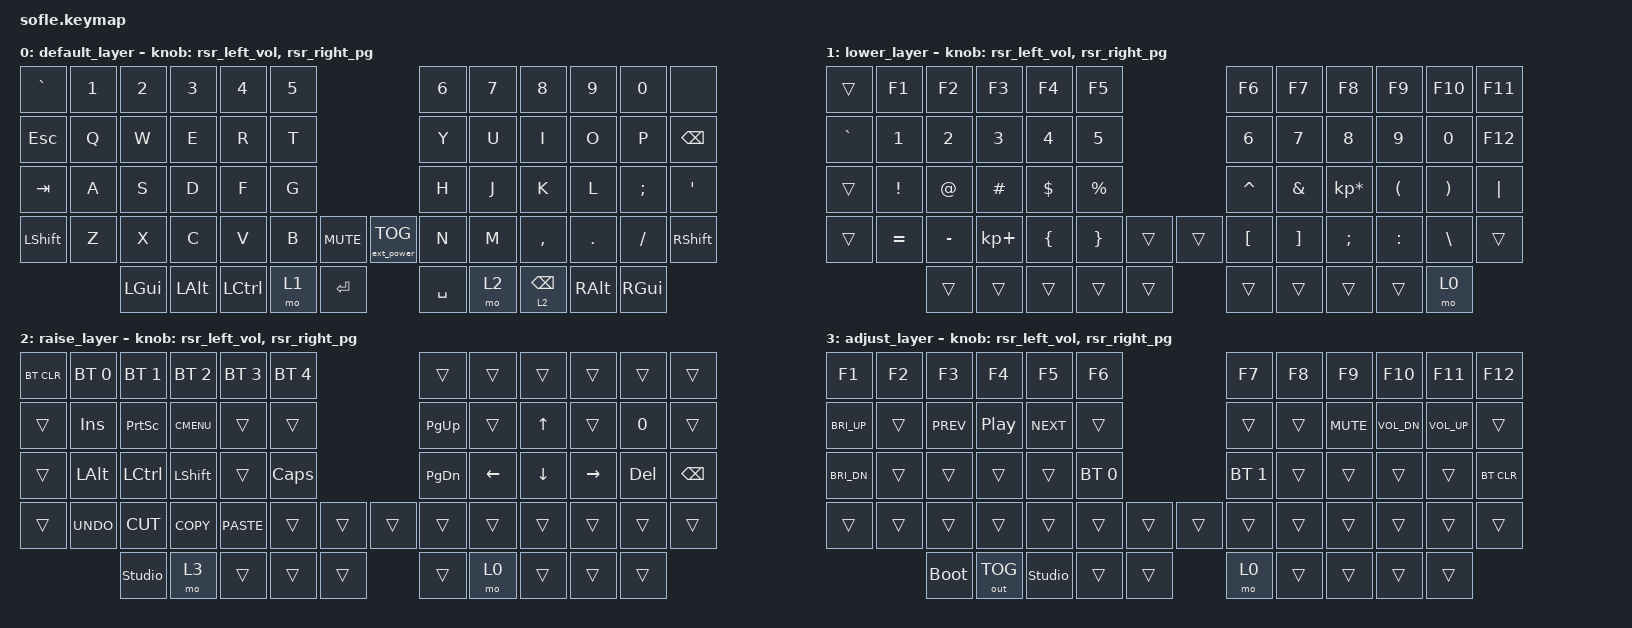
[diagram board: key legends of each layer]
/*
 * Copyright (c) 2020 The ZMK Contributors
 * Copyright (c) 2026 tangbonze
 *
 * SPDX-License-Identifier: MIT
 *
 * Sofle 分体键盘键位定义 —— DYA Studio 版
 *
 * 布局沿用 ZMK 内置 sofle shield 的矩阵变换（app/boards/shields/sofle/sofle.dtsi
 * 里的 default_transform，chosen 到 josefadamcik_sofle_layout）。
 * 每层的绑定数必须严格为 12 / 12 / 12 / 14 / 10（两半合计 60 个矩阵位置，
 * 其中 2 个位置在 dtsi 里被映射为编码器，实际开关 58 枚），否则 devicetree 报错。
 *
 * 层设计：
 *   0 DEFAULT  主键区。**与原 main 分支完全一致**，未做任何改动。
 *   1 LOWER    F 键 / 数字 / 符号（原main 分支内容，末尾加 &mo 0 兜底）
 *   2 RAISE    蓝牙配置档 / 导航 / 编辑（原 main 分支内容 + DYA 键位）
 *   3 ADJUST   媒体 / 亮度 / 蓝牙 / bootloader（DYA Studio 常用操作集中层）
 *
 * 进出方式：
 *   DEFAULT -> LOWER  左手第 4 枚拇指键（&mo 1）
 *   DEFAULT -> RAISE  右手第 2 枚拇指键（&lt 2，短按退格 / 长按进层）
 *   RAISE   -> ADJUST 左手第 2 枚拇指键（&mo 3）
 *   LOWER + RAISE 同按 -> ADJUST（conditional layer / tri_layer）
 *   LOWER / RAISE / ADJUST 的兜底位均为 &mo 0，按住可临时回到 DEFAULT
 *
 * ⚠️ 输出切换一律用 &out OUT_TOG，不要用 &out OUT_USB：
 *    后者是粘滞的 —— 切过去以后只要没插线蓝牙输出就被停掉，键盘完全没有输入，
 *    表现成"键盘突然坏了"。本文件三处输出切换均为 OUT_TOG。
 */

#include <behaviors.dtsi>
// 引入 rsr_trans（无动作的运行时编码器行为）。真正的实例在下方
// / { behaviors { ... } } 里按左右编码器分别定义，带默认回落绑定。
#include <behaviors/runtime-sensor-rotate.dtsi>
#include <dt-bindings/zmk/bt.h>
#include <dt-bindings/zmk/ext_power.h>
#include <dt-bindings/zmk/keys.h>
#include <dt-bindings/zmk/outputs.h>

#define DEFAULT 0
#define LOWER   1
#define RAISE   2
#define ADJUST  3

/ {
    behaviors {
        // 编码器运行时映射（Sofle 每半一枚 EC11，共 2 个 sensor：左=0，右=1）
        //
        // 这些 cw-binding / ccw-binding 是**默认回落值**：当某层还没在 DYA Studio
        // 网页上配置过时，编码器按这里写的键行为；一旦在网页上配了某层，
        // 就以网页配置为准。这保证了刚刷完固件、还没打开 Studio 时
        // 编码器依然可用（手感与原来的 &inc_dec_kp 一致）。
        //
        // 行为属性：
        //   tap-ms        每次触发的按下时长，默认 5ms
        //   cw-binding    顺时针默认绑定（可选）
        //   ccw-binding   逆时针默认绑定（可选）
        // 三者都不写时该实例完全透明（不产生任何动作）。

        // 左编码器：默认 音量 上/下
        rsr_left_vol: rsr_left_vol {
            compatible = "zmk,behavior-runtime-sensor-rotate";
            #sensor-binding-cells = <0>;
            tap-ms = <5>;
            cw-binding = <&kp C_VOL_UP>;
            ccw-binding = <&kp C_VOL_DN>;
        };

        // 右编码器：默认 翻页 上/下
        rsr_right_pg: rsr_right_pg {
            compatible = "zmk,behavior-runtime-sensor-rotate";
            #sensor-binding-cells = <0>;
            tap-ms = <5>;
            cw-binding = <&kp PG_UP>;
            ccw-binding = <&kp PG_DN>;
        };
    };

    conditional_layers {
        compatible = "zmk,conditional-layers";

        // LOWER + RAISE 同按 -> ADJUST
        tri_layer {
            if-layers = <LOWER RAISE>;
            then-layer = <ADJUST>;
        };
    };

    keymap {
        compatible = "zmk,keymap";

        default_layer {
            // -----------------------------------------------------------------------------------------
            // |  `    |  1  |  2  |  3  |  4  |  5  |                    |  6  |  7  |  8  |  9  |  0  |      |
            // |  ESC  |  Q  |  W  |  E  |  R  |  T  |                    |  Y  |  U  |  I  |  O  |  P  | BSPC |
            // |  TAB  |  A  |  S  |  D  |  F  |  G  |                    |  H  |  J  |  K  |  L  |  ;  |  '   |
            // | LSHFT |  Z  |  X  |  C  |  V  |  B  | MUTE |            | PWR |  N  |  M  |  ,  |  .  | RSHFT|
            //               | GUI | ALT | CTRL| LWR | ENT |                   | SPC | RSE | CTRL| ALT | GUI |
            //
            // 本层与原 main 分支逐键一致，未做改动，确保既有手感不受影响。
            // 第 3 行是 Sofle 特有的 14 键（MUTE 与外设电源占位），
            // 第 4 行的编码器不在矩阵内，由 sensor-bindings 单独接管。
            //
            // 编码器：sensor 0 = 左，sensor 1 = 右。改用运行时可配置的行为
            // （rsr_left_vol / rsr_right_pg），默认值与原main 的
            // &inc_dec_kp 一致，在 DYA Studio 上配了某层之后以网页配置为准。

            bindings = <
&kp GRAVE &kp N1 &kp N2   &kp N3   &kp N4    &kp N5                              &kp N6 &kp N7    &kp N8    &kp N9   &kp N0   &none
&kp ESC   &kp Q  &kp W    &kp E    &kp R     &kp T                               &kp Y  &kp U     &kp I     &kp O    &kp P    &kp BSPC
&kp TAB   &kp A  &kp S    &kp D    &kp F     &kp G                               &kp H  &kp J     &kp K     &kp L    &kp SEMI &kp SQT
&kp LSHFT &kp Z  &kp X    &kp C    &kp V     &kp B  &kp C_MUTE &ext_power EP_TOG &kp N  &kp M     &kp COMMA &kp DOT  &kp FSLH &kp RSHFT
                 &kp LGUI &kp LALT &kp LCTRL &mo 1  &kp RET    &kp SPACE         &mo 2  &lt 2 BACKSPACE  &kp RALT  &kp RGUI
            >;

            // 左编码器 = 音量，右编码器 = 翻页
            sensor-bindings = <&rsr_left_vol &rsr_right_pg>;
        };

        lower_layer {
            // -----------------------------------------------------------------------------------------
            // |      |  F1 |  F2 |  F3  |  F4  |  F5  |                   |  F6  |  F7 |  F8  |  F9  | F10 | F11 |
            // |  `   |   1 |   2 |  3  |   4  |   5  |                   |  6  |  7  |  8  |  9  |  0  | F12 |
            // | trans|  !  |  @  |  #  |  $  |  %  |                   |  ^  |  &  |  *  |  (  |  )  |  |  |
            // | trans|  =  |  -  |  +  |  {  |  }  |   trans |  trans  |  [  |  ]  |  ;  |  :  |  \  | trans|
            //               |trans|trans|trans|trans|                         | SPC  | trans |trans | trans | trans |
            //
            // 与原 main 分支一致。最右 1 枚拇指键从 &trans 改成 &mo 0 作为兜底：
            // DYA Studio 的 Default Layer 面板可以把这层设成基础层，一旦被设成
            // 基础层，原本全是 &trans 的拇指区就会变成"死区"——既回不到 RAISE
            //（拿不到 &studio_unlock），也进不了 ADJUST。有 &mo 0 就不会锁死。

            bindings = <
&trans    &kp F1    &kp F2    &kp F3      &kp F4    &kp F5                    &kp F6    &kp F7   &kp F8          &kp F9    &kp F10   &kp F11
&kp GRAVE &kp N1    &kp N2    &kp N3      &kp N4    &kp N5                    &kp N6    &kp N7   &kp N8          &kp N9    &kp N0    &kp F12
&trans    &kp EXCL  &kp AT    &kp HASH    &kp DLLR  &kp PRCNT                 &kp CARET &kp AMPS &kp KP_MULTIPLY &kp LPAR  &kp RPAR  &kp PIPE
&trans    &kp EQUAL &kp MINUS &kp KP_PLUS &kp LBRC  &kp RBRC  &trans   &trans &kp LBKT  &kp RBKT &kp SEMI        &kp COLON &kp BSLH  &trans
                    &trans    &trans      &trans    &trans    &trans    &trans  &trans  &trans    &trans    &mo 0
            >;

            sensor-bindings = <&rsr_left_vol &rsr_right_pg>;
        };

        raise_layer {
            // -----------------------------------------------------------------------------------------
            // |BTCLR| BT1  | BT2  |  BT3  |  BT4  |  BT5 |                   | trans  | trans | trans | trans | trans | trans|
            // |     | INS  | PSCR | GUI   |       |      |                   | PGUP|      |   ^   |      |       |      |
            // |     | ALT  | CTRL | SHIFT |       | CAPS |                   | PGDN |   <- |   v   |  ->  |  DEL  | BSPC |
            // |     | UNDO | CUT  | COPY  | PASTE |      |  trans |  trans     | trans  | trans | trans | trans | trans | trans |
            //              |STUDIO| ->ADJ |      |      |                      | trans | BASE  | trans |      |      |
            //
            // 前四行与原 main 分支一致（蓝牙配置档、导航、编辑、剪贴板）。
            // 第 5 行是新增的 DYA 拇指区：
            //   STUDIO = &studio_unlock，解锁 DYA Studio（被锁定时 Web Bluetooth 扫不到）；
            //   ->ADJ  = &mo 3，按住进 ADJUST 层；
            //   BASE   = &mo 0，按住临时回到 DEFAULT（RAISE 被设成基础层时的逃生口）。

            bindings = <
&bt BT_CLR &bt BT_SEL 0 &bt BT_SEL 1  &bt BT_SEL 2  &bt BT_SEL 3  &bt BT_SEL 4             &trans    &trans    &trans   &trans    &trans  &trans
&trans     &kp INS      &kp PSCRN    &kp K_CMENU  &trans       &trans                   &kp PG_UP &trans    &kp UP   &trans    &kp N0  &trans
&trans     &kp LALT     &kp LCTRL    &kp LSHFT    &trans       &kp CLCK                 &kp PG_DN &kp LEFT  &kp DOWN &kp RIGHT &kp DEL &kp BSPC
&trans     &kp K_UNDO   &kp K_CUT    &kp K_COPY   &kp K_PASTE  &trans  &trans   &trans  &trans    &trans    &trans   &trans    &trans  &trans
                        &studio_unlock  &mo 3    &trans       &trans  &trans    &trans  &mo 0    &trans    &trans    &trans
            >;

            sensor-bindings = <&rsr_left_vol &rsr_right_pg>;
        };

        adjust_layer {
            // -----------------------------------------------------------------------------------------
            // |  F1 | F2 | F3 | F4 | F5 | F6  |                   | F7  | F8 | F9 | F10 | F11 | F12 |
            // | bri+|    |prev| PP |next|   |                   |     |MUT | Vo-| Vo+|     |    |
            // | bri-|    |    |    |    | BT1|                   | BT2 |    |    |     |     |BTCLR|
            // |trans|trans|trans|trans|trans|trans | trans |trans |trans|trans|trans |trans|trans|trans|
            //                      | BTLDR | OUT | UNLK |          |     | BASE |    |     |
            //
            // 进入方式：LOWER + RAISE 同按（tri_layer），或 RAISE 中按住
            // 左手第 2 枚拇指键（&mo 3）。
            //
            // BTLDR = &bootloader，进 bootloader（重刷固件用），放在左拇指内侧不易误触。
            // OUT   = &out OUT_TOG，USB / BLE 来回切。**不要**换成 &out OUT_USB：
            //         它是粘滞的，切过去没插线就完全没有输出，而本层不易进出会"哑掉"。
            // UNLK  = &studio_unlock，Studio 被锁定时的备用解锁位（RAISE 层还有一个）。
            // BASE  = &mo 0，按住临时回到 DEFAULT（ADJUST 被设成基础层时的逃生口）。
            //
            // BT_CLR 放在本层最右侧，远离主键区，避免误触清掉蓝牙配对。

            bindings = <
&kp F1        &kp F2  &kp F3     &kp F4    &kp F5     &kp F6                        &kp F7        &kp F8    &kp F9      &kp F10      &kp F11      &kp F12
&kp C_BRI_UP  &trans  &kp C_PREV &kp C_PP  &kp C_NEXT &trans                        &trans        &trans    &kp C_MUTE  &kp C_VOL_DN &kp C_VOL_UP &trans
&kp C_BRI_DN  &trans  &trans     &trans    &trans     &bt BT_SEL 0                  &bt BT_SEL 1  &trans    &trans      &trans       &trans       &bt BT_CLR
&trans        &trans  &trans     &trans    &trans     &trans   &trans   &trans         &trans        &trans    &trans      &trans       &trans       &trans
                      &bootloader  &out OUT_TOG  &studio_unlock  &trans               &trans        &mo 0     &trans       &trans      &trans       &trans
            >;

            sensor-bindings = <&rsr_left_vol &rsr_right_pg>;
        };
    };
};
